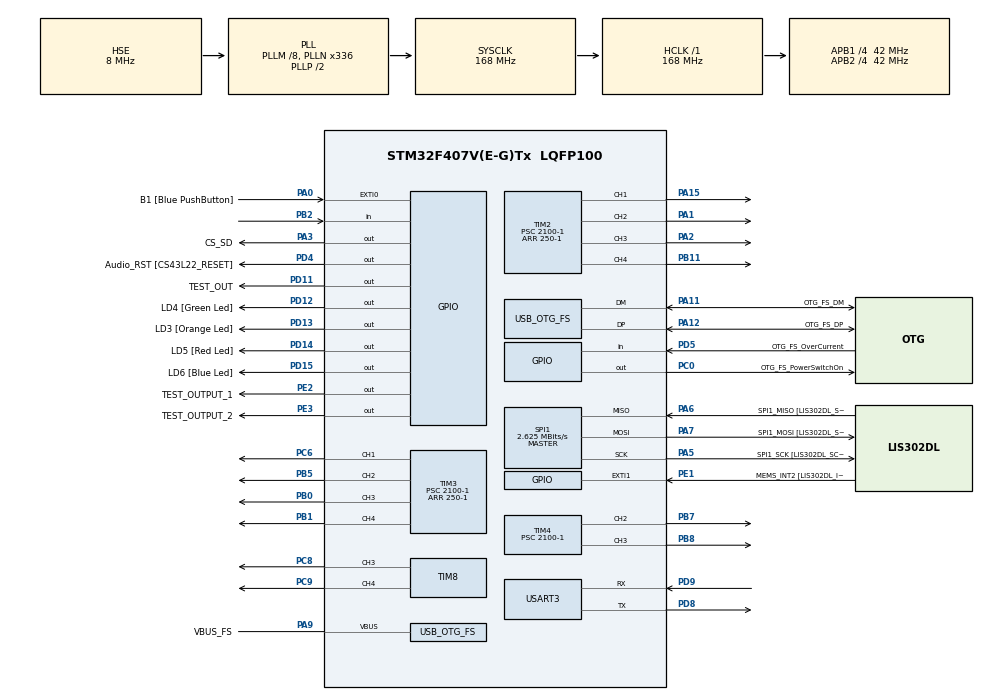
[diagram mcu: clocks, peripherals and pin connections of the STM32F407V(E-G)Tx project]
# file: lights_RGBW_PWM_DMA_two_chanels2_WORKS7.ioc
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Dma.Request0=TIM8_CH3
Dma.Request1=TIM8_CH4/TRIG/COM
Dma.TIM8_CH3.0.Direction=DMA_MEMORY_TO_PERIPH
Dma.TIM8_CH3.0.FIFOMode=DMA_FIFOMODE_DISABLE
Dma.TIM8_CH3.0.Instance=DMA2_Stream4
Dma.TIM8_CH3.0.MemDataAlignment=DMA_MDATAALIGN_WORD
Dma.TIM8_CH3.0.MemInc=DMA_MINC_ENABLE
Dma.TIM8_CH3.0.Mode=DMA_CIRCULAR
Dma.TIM8_CH3.0.PeriphDataAlignment=DMA_PDATAALIGN_WORD
Dma.TIM8_CH3.0.PeriphInc=DMA_PINC_DISABLE
Dma.TIM8_CH3.0.Priority=DMA_PRIORITY_HIGH
Dma.TIM8_CH4/TRIG/COM.1.Direction=DMA_MEMORY_TO_PERIPH
Dma.TIM8_CH4/TRIG/COM.1.FIFOMode=DMA_FIFOMODE_DISABLE
Dma.TIM8_CH4/TRIG/COM.1.Instance=DMA2_Stream7
Dma.TIM8_CH4/TRIG/COM.1.MemDataAlignment=DMA_MDATAALIGN_WORD
Dma.TIM8_CH4/TRIG/COM.1.MemInc=DMA_MINC_ENABLE
Dma.TIM8_CH4/TRIG/COM.1.Mode=DMA_CIRCULAR
Dma.TIM8_CH4/TRIG/COM.1.PeriphDataAlignment=DMA_PDATAALIGN_WORD
Dma.TIM8_CH4/TRIG/COM.1.PeriphInc=DMA_PINC_DISABLE
Dma.TIM8_CH4/TRIG/COM.1.Priority=DMA_PRIORITY_HIGH
FATFS._MAX_SS=4096
FATFS._MIN_SS=512
FATFS._USE_LFN=1
Mcu.Family=STM32F4
Mcu.Name=STM32F407V(E-G)Tx
Mcu.Package=LQFP100
NVIC.DMA2_Stream4_IRQn=true\:0\:0\:false\:false\:true\:false\:true\:true
NVIC.DMA2_Stream7_IRQn=true\:0\:0\:false\:false\:true\:false\:true\:true
NVIC.OTG_FS_IRQn=true\:0\:0\:false\:false\:true\:true\:true\:true
NVIC.PriorityGroup=NVIC_PRIORITYGROUP_0
NVIC.TIM2_IRQn=true\:0\:0\:false\:false\:true\:true\:true\:true
NVIC.TIM8_TRG_COM_TIM14_IRQn=true\:0\:0\:false\:false\:true\:true\:true\:true
NVIC.TIM8_UP_TIM13_IRQn=true\:0\:0\:false\:false\:true\:true\:true\:true
NVIC.USART3_IRQn=true\:0\:0\:false\:false\:true\:true\:true\:true
PA0-WKUP.GPIO_Label=B1 [Blue PushButton]
PA0-WKUP.GPIO_ModeDefaultEXTI=GPIO_MODE_EVT_RISING
PA0-WKUP.GPIO_PuPd=GPIO_NOPULL
PA0-WKUP.Signal=GPXTI0
PA1.Signal=S_TIM2_CH2
PA10.GPIO_Label=OTG_FS_ID
PA10.GPIO_Mode=GPIO_MODE_AF_PP
PA10.GPIO_PuPd=GPIO_NOPULL
PA10.GPIO_Speed=GPIO_SPEED_FREQ_LOW
PA10.Signal=USB_OTG_FS_ID
PA11.GPIO_Label=OTG_FS_DM
PA11.GPIO_Mode=GPIO_MODE_AF_PP
PA11.GPIO_PuPd=GPIO_NOPULL
PA11.GPIO_Speed=GPIO_SPEED_FREQ_LOW
PA11.Mode=Host_Only
PA11.Signal=USB_OTG_FS_DM
PA12.GPIO_Label=OTG_FS_DP
PA12.GPIO_Mode=GPIO_MODE_AF_PP
PA12.GPIO_PuPd=GPIO_NOPULL
PA12.GPIO_Speed=GPIO_SPEED_FREQ_LOW
PA12.Mode=Host_Only
PA12.Signal=USB_OTG_FS_DP
PA13.GPIO_Label=SWDIO
PA13.Mode=Serial_Wire
PA13.Signal=SYS_JTMS-SWDIO
PA14.GPIO_Label=SWCLK
PA14.Mode=Serial_Wire
PA14.Signal=SYS_JTCK-SWCLK
PA15.GPIO_Speed=GPIO_SPEED_FREQ_LOW
PA15.Signal=S_TIM2_CH1_ETR
PA2.Signal=S_TIM2_CH3
PA3.GPIO_Label=CS_SD
PA3.GPIO_Speed=GPIO_SPEED_FREQ_HIGH
PA3.Signal=GPIO_Output
PA4.GPIO_Label=I2S3_WS [CS43L22_LRCK]
PA4.GPIO_Mode=GPIO_MODE_AF_PP
PA4.GPIO_PuPd=GPIO_NOPULL
PA4.GPIO_Speed=GPIO_SPEED_FREQ_LOW
PA4.Signal=I2S3_WS
PA5.GPIO_Label=SPI1_SCK [LIS302DL_SCL/SPC]
PA5.GPIO_Mode=GPIO_MODE_AF_PP
PA5.GPIO_PuPd=GPIO_NOPULL
PA5.GPIO_Speed=GPIO_SPEED_FREQ_VERY_HIGH
PA5.Mode=Full_Duplex_Master
PA5.Signal=SPI1_SCK
PA6.GPIO_Label=SPI1_MISO [LIS302DL_SDO]
PA6.GPIO_Mode=GPIO_MODE_AF_PP
PA6.GPIO_PuPd=GPIO_NOPULL
PA6.GPIO_Speed=GPIO_SPEED_FREQ_VERY_HIGH
PA6.Mode=Full_Duplex_Master
PA6.Signal=SPI1_MISO
PA7.GPIO_Label=SPI1_MOSI [LIS302DL_SDA/SDI/SDO]
PA7.GPIO_Mode=GPIO_MODE_AF_PP
PA7.GPIO_PuPd=GPIO_NOPULL
PA7.GPIO_Speed=GPIO_SPEED_FREQ_VERY_HIGH
PA7.Mode=Full_Duplex_Master
PA7.Signal=SPI1_MOSI
PA9.GPIO_Label=VBUS_FS
PA9.GPIO_Mode=GPIO_MODE_INPUT
PA9.GPIO_PuPd=GPIO_NOPULL
PA9.Mode=Activate_VBUS
PA9.Signal=USB_OTG_FS_VBUS
PB0.Signal=S_TIM3_CH3
PB1.Signal=S_TIM3_CH4
PB10.GPIO_Label=CLK_IN [MP45DT02_CLK]
PB10.GPIO_Mode=GPIO_MODE_AF_PP
PB10.GPIO_PuPd=GPIO_NOPULL
PB10.GPIO_Speed=GPIO_SPEED_FREQ_LOW
PB10.Signal=I2S2_CK
PB11.Signal=S_TIM2_CH4
PB2.Signal=GPIO_Input
PB3.GPIO_Label=SWO
PB3.Signal=SYS_JTDO-SWO
PB5.Signal=S_TIM3_CH2
PB6.GPIO_Label=Audio_SCL [CS43L22_SCL]
PB6.GPIO_Mode=GPIO_MODE_AF_OD
PB6.GPIO_Pu=GPIO_PULLUP
PB6.GPIO_PuPd=GPIO_NOPULL
PB6.GPIO_Speed=GPIO_SPEED_FREQ_LOW
PB6.Signal=I2C1_SCL
PB7.Signal=S_TIM4_CH2
PB8.Signal=S_TIM4_CH3
PB9.GPIO_Label=Audio_SDA [CS43L22_SDA]
PB9.GPIO_Mode=GPIO_MODE_AF_OD
PB9.GPIO_Pu=GPIO_PULLUP
PB9.GPIO_PuPd=GPIO_NOPULL
PB9.GPIO_Speed=GPIO_SPEED_FREQ_LOW
PB9.Signal=I2C1_SDA
PC0.GPIO_Label=OTG_FS_PowerSwitchOn
PC0.GPIO_PuPd=GPIO_NOPULL
PC0.GPIO_Speed=GPIO_SPEED_FREQ_LOW
PC0.PinState=GPIO_PIN_SET
PC0.Signal=GPIO_Output
PC10.GPIO_Label=I2S3_SCK [CS43L22_SCLK]
PC10.GPIO_Mode=GPIO_MODE_AF_PP
PC10.GPIO_PuPd=GPIO_NOPULL
PC10.GPIO_Speed=GPIO_SPEED_FREQ_LOW
PC10.Signal=I2S3_CK
PC12.GPIO_Label=I2S3_SD [CS43L22_SDIN]
PC12.GPIO_Mode=GPIO_MODE_AF_PP
PC12.GPIO_PuPd=GPIO_NOPULL
PC12.GPIO_Speed=GPIO_SPEED_FREQ_LOW
PC12.Signal=I2S3_SD
PC14-OSC32_IN.GPIO_Label=PC14-OSC32_IN
PC14-OSC32_IN.Mode=LSE-External-Oscillator
PC14-OSC32_IN.Signal=RCC_OSC32_IN
PC15-OSC32_OUT.GPIO_Label=PC15-OSC32_OUT
PC15-OSC32_OUT.Mode=LSE-External-Oscillator
PC15-OSC32_OUT.Signal=RCC_OSC32_OUT
PC3.GPIO_Label=PDM_OUT [MP45DT02_DOUT]
PC3.GPIO_Mode=GPIO_MODE_AF_PP
PC3.GPIO_PuPd=GPIO_NOPULL
PC3.GPIO_Speed=GPIO_SPEED_FREQ_LOW
PC3.Signal=I2S2_SD
PC6.Signal=S_TIM3_CH1
PC7.GPIO_Label=I2S3_MCK [CS43L22_MCLK]
PC7.GPIO_Mode=GPIO_MODE_AF_PP
PC7.GPIO_PuPd=GPIO_NOPULL
PC7.GPIO_Speed=GPIO_SPEED_FREQ_LOW
PC7.Signal=I2S3_MCK
PC8.GPIO_PuPd=GPIO_PULLUP
PC8.GPIO_Speed=GPIO_SPEED_FREQ_VERY_HIGH
PC8.Signal=S_TIM8_CH3
PC9.GPIO_PuPd=GPIO_PULLUP
PC9.GPIO_Speed=GPIO_SPEED_FREQ_VERY_HIGH
PC9.Signal=S_TIM8_CH4
PD11.GPIO_Label=TEST_OUT
PD11.GPIO_PuPd=GPIO_PULLUP
PD11.GPIO_Speed=GPIO_SPEED_FREQ_VERY_HIGH
PD11.Signal=GPIO_Output
PD12.GPIO_Label=LD4 [Green Led]
PD12.GPIO_PuPd=GPIO_NOPULL
PD12.GPIO_Speed=GPIO_SPEED_FREQ_LOW
PD12.Signal=GPIO_Output
PD13.GPIO_Label=LD3 [Orange Led]
PD13.GPIO_PuPd=GPIO_NOPULL
PD13.GPIO_Speed=GPIO_SPEED_FREQ_LOW
PD13.Signal=GPIO_Output
PD14.GPIO_Label=LD5 [Red Led]
PD14.GPIO_PuPd=GPIO_NOPULL
PD14.GPIO_Speed=GPIO_SPEED_FREQ_LOW
PD14.Signal=GPIO_Output
PD15.GPIO_Label=LD6 [Blue Led]
PD15.GPIO_PuPd=GPIO_NOPULL
PD15.GPIO_Speed=GPIO_SPEED_FREQ_LOW
PD15.Signal=GPIO_Output
PD4.GPIO_Label=Audio_RST [CS43L22_RESET]
PD4.GPIO_PuPd=GPIO_NOPULL
PD4.GPIO_Speed=GPIO_SPEED_FREQ_LOW
PD4.Signal=GPIO_Output
PD5.GPIO_Label=OTG_FS_OverCurrent
PD5.GPIO_Mode=GPIO_MODE_INPUT
PD5.GPIO_PuPd=GPIO_NOPULL
PD5.Signal=GPIO_Input
PD8.Mode=Asynchronous
PD8.Signal=USART3_TX
PD9.Mode=Asynchronous
PD9.Signal=USART3_RX
PE1.GPIO_Label=MEMS_INT2 [LIS302DL_INT2]
PE1.GPIO_ModeDefaultEXTI=GPIO_MODE_EVT_RISING
PE1.GPIO_PuPd=GPIO_NOPULL
PE1.Signal=GPXTI1
PE2.GPIO_Label=TEST_OUTPUT_1
PE2.GPIO_PuPd=GPIO_PULLDOWN
PE2.GPIO_Speed=GPIO_SPEED_FREQ_VERY_HIGH
PE2.Signal=GPIO_Output
PE3.GPIO_Label=TEST_OUTPUT_2
PE3.Signal=GPIO_Output
PH0-OSC_IN.GPIO_Label=PH0-OSC_IN
PH0-OSC_IN.Mode=HSE-External-Oscillator
PH0-OSC_IN.Signal=RCC_OSC_IN
PH1-OSC_OUT.GPIO_Label=PH1-OSC_OUT
PH1-OSC_OUT.Mode=HSE-External-Oscillator
PH1-OSC_OUT.Signal=RCC_OSC_OUT
ProjectManager.HeapSize=0x200
ProjectManager.StackSize=0x400
ProjectManager.TargetToolchain=STM32CubeIDE
RCC.48MHZClocksFreq_Value=48000000
RCC.AHBFreq_Value=168000000
RCC.APB1CLKDivider=RCC_HCLK_DIV4
RCC.APB1Freq_Value=42000000
RCC.APB1TimFreq_Value=84000000
RCC.APB2CLKDivider=RCC_HCLK_DIV4
RCC.APB2Freq_Value=42000000
RCC.APB2TimFreq_Value=84000000
RCC.CortexFreq_Value=168000000
RCC.HCLKFreq_Value=168000000
RCC.HSE_VALUE=8000000
RCC.HSI_VALUE=16000000
RCC.PLLM=8
RCC.PLLN=336
RCC.PLLQ=7
RCC.SYSCLKFreq_VALUE=168000000
RCC.SYSCLKSource=RCC_SYSCLKSOURCE_PLLCLK
RCC.VCOOutputFreq_Value=336000000
SH.S_TIM2_CH1_ETR.0=TIM2_CH1,PWM Generation1 CH1
SH.S_TIM2_CH2.0=TIM2_CH2,PWM Generation2 CH2
SH.S_TIM2_CH3.0=TIM2_CH3,PWM Generation3 CH3
SH.S_TIM2_CH4.0=TIM2_CH4,PWM Generation4 CH4
SH.S_TIM3_CH1.0=TIM3_CH1,PWM Generation1 CH1
SH.S_TIM3_CH2.0=TIM3_CH2,PWM Generation2 CH2
SH.S_TIM3_CH3.0=TIM3_CH3,PWM Generation3 CH3
SH.S_TIM3_CH4.0=TIM3_CH4,PWM Generation4 CH4
SH.S_TIM4_CH2.0=TIM4_CH2,PWM Generation2 CH2
SH.S_TIM4_CH3.0=TIM4_CH3,PWM Generation3 CH3
SH.S_TIM8_CH3.0=TIM8_CH3,PWM Generation3 CH3
SH.S_TIM8_CH4.0=TIM8_CH4,PWM Generation4 CH4
SPI1.BaudRatePrescaler=SPI_BAUDRATEPRESCALER_16
SPI1.CalculateBaudRate=2.625 MBits/s
SPI1.Direction=SPI_DIRECTION_2LINES
SPI1.FirstBit=SPI_FIRSTBIT_MSB
SPI1.Mode=SPI_MODE_MASTER
SPI1.VirtualType=VM_MASTER
TIM13.Period=50000
TIM13.Prescaler=8400-1
TIM2.Channel-PWM\ Generation1\ CH1=TIM_CHANNEL_1
TIM2.Channel-PWM\ Generation2\ CH2=TIM_CHANNEL_2
TIM2.Channel-PWM\ Generation3\ CH3=TIM_CHANNEL_3
TIM2.Channel-PWM\ Generation4\ CH4=TIM_CHANNEL_4
TIM2.Period=250-1
TIM2.Prescaler=2100-1
TIM2.Pulse-PWM\ Generation1\ CH1=0
TIM2.Pulse-PWM\ Generation2\ CH2=0
TIM2.Pulse-PWM\ Generation3\ CH3=0
TIM2.Pulse-PWM\ Generation4\ CH4=0
TIM3.Channel-PWM\ Generation1\ CH1=TIM_CHANNEL_1
TIM3.Channel-PWM\ Generation2\ CH2=TIM_CHANNEL_2
TIM3.Channel-PWM\ Generation3\ CH3=TIM_CHANNEL_3
TIM3.Channel-PWM\ Generation4\ CH4=TIM_CHANNEL_4
TIM3.Period=250-1
TIM3.Prescaler=2100-1
TIM3.Pulse-PWM\ Generation1\ CH1=0
TIM3.Pulse-PWM\ Generation2\ CH2=0
TIM3.Pulse-PWM\ Generation3\ CH3=0
TIM3.Pulse-PWM\ Generation4\ CH4=0
TIM4.Channel-PWM\ Generation2\ CH2=TIM_CHANNEL_2
TIM4.Channel-PWM\ Generation3\ CH3=TIM_CHANNEL_3
TIM4.Period=250-1
TIM4.Prescaler=2100-1
TIM4.Pulse-PWM\ Generation2\ CH2=0
TIM4.Pulse-PWM\ Generation3\ CH3=0
TIM8.Channel-PWM\ Generation3\ CH3=TIM_CHANNEL_3
TIM8.Channel-PWM\ Generation4\ CH4=TIM_CHANNEL_4
USART3.VirtualMode=VM_ASYNC
USB_HOST.BSP.number=1
USB_HOST.USBH_HandleTypeDef-CDC_FS=hUsbHostFS
USB_HOST.VirtualModeFS=Cdc
USB_HOST0.BSP.STBoard=false
USB_HOST0.BSP.api=Unknown
USB_HOST0.BSP.instance=PC0
USB_HOST0.BSP.ip=GPIO
USB_HOST0.BSP.mode=Output
USB_HOST0.BSP.name=Drive_VBUS_FS
USB_HOST0.BSP.solution=PC0
USB_OTG_FS.VirtualMode=Host_Only
USB_OTG_FS.phy_itface=HCD_PHY_EMBEDDED
VP_FATFS_VS_Generic.Mode=User_defined
VP_TIM13_VS_ClockSourceINT.Mode=Enable_Timer
VP_TIM2_VS_ClockSourceINT.Mode=Internal
VP_TIM3_VS_ClockSourceINT.Mode=Internal
VP_TIM4_VS_ClockSourceINT.Mode=Internal
VP_USB_HOST_VS_USB_HOST_CDC_FS.Mode=CDC_FS
board=STM32F407G-DISC1

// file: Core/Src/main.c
/* USER CODE BEGIN Header */
/**
  ******************************************************************************
  * @file           : main.c
  * @brief          : Main program body
  ******************************************************************************
  * @attention
  *
  * Copyright (c) 2022 STMicroelectronics.
  * All rights reserved.
  *
  * This software is licensed under terms that can be found in the LICENSE file
  * in the root directory of this software component.
  * If no LICENSE file comes with this software, it is provided AS-IS.
  *
  ******************************************************************************
  */
/* USER CODE END Header */
#include "main.h"
#include "fatfs.h"
#include "usb_host.h"

/* USER CODE BEGIN Includes */
#include "string.h"
#include <stdlib.h>
#include <stdint.h>
#include <microSD/sd_spi.h>
#include <microSD/file_system.h>
#include "stdbool.h"

#include "light/led_stript/ARGB.h"
#include "light/led_stript/control.h"
#include "light/led_stop/stop_light.h"
#include "queue/queue.h"

/* USER CODE END Includes */

/* USER CODE BEGIN PTD */
void all_leds_animantion_ok_state(void);
void all_leds_animantion_error_state(void);

// SD Card ////////////////////////////////////////////////////////////////////
extern FATFS *fs;
extern FIL MyFile;
extern sd_info_ptr sdinfo;
extern FILINFO sFileInfo;
extern DIR sDirectory;
extern char aStringBuffer[60];
extern uint8_t aBuffer[512];

extern char USER_Path[4];
FATFS SDFatFs;
///////////////////////////////////////////////////////////////////////////////

// UART ///////////////////////////////////////////////////////////////////////
uint8_t uart_RX_data = 0;					// Buffer for receive one char
bool flag_received_command = false;			// This flag used for show that command from UART receive

bool interrupt_animation_flag = false;		// This flag need for be able to interrupt animation

char rx_buf_command[10] = {0};
uint8_t count_chars = 0;
////////////////////////////////////////////////////////////////////////////////

// Generate 25 Hz //////////////////////////////////////////////////////////////
bool interrupt_flag = false;
////////////////////////////////////////////////////////////////////////////////

bool data_ready_flag = false;
bool data_write_flag = true;

// data
uint8_t frame_buffer[949] = {0};
extern int frame_size ;			// How many bytes on the one frame
extern int start_evenled;

extern int strat_left_led;
extern int midle_left_led;
extern int end_left_led;

extern int strat_right_led;
extern int midle_right_led;
extern int end_ritht_led;

extern int how_many_leds_up_part;
extern int how_many_leds_down_part;

//extern int frame;
extern int how_many_frames;

Queue rx_Int_queue;

uint8_t frame_buffer_A[949] = {0};
uint8_t frame_buffer_B[949] = {0};

/* USER CODE END PTD */

/* USER CODE BEGIN PM */
//#include "stop_light.h"
//#include "LED_WS2812B.h"

/* USER CODE END PM */

SPI_HandleTypeDef hspi1;

TIM_HandleTypeDef htim2;
TIM_HandleTypeDef htim3;
TIM_HandleTypeDef htim4;
TIM_HandleTypeDef htim8;
TIM_HandleTypeDef htim13;
DMA_HandleTypeDef hdma_tim8_ch3;
DMA_HandleTypeDef hdma_tim8_ch4_trig_com;

UART_HandleTypeDef huart3;

void SystemClock_Config(void);
static void MX_GPIO_Init(void);
static void MX_DMA_Init(void);
static void MX_USART3_UART_Init(void);
static void MX_SPI1_Init(void);
static void MX_TIM2_Init(void);
static void MX_TIM3_Init(void);
static void MX_TIM4_Init(void);
static void MX_TIM8_Init(void);
static void MX_TIM13_Init(void);
void MX_USB_HOST_Process(void);

/* USER CODE BEGIN PFP */
// ----------------------------------------------------------------------------
void start_and_init_25_hz(int msec)
{
	msec = msec*10;
	__HAL_TIM_SET_AUTORELOAD(&htim13, msec-1);

	HAL_TIM_Base_Start_IT(&htim13);
}
// ----------------------------------------------------------------------------
void stop_25_hz(void)
{
	HAL_TIM_Base_Stop_IT(&htim13);
}
// ----------------------------------------------------------------------------
void init_leds_pwm(void)
{
	HAL_TIM_PWM_Start(&htim2, TIM_CHANNEL_1);
	HAL_TIM_PWM_Start(&htim2, TIM_CHANNEL_2);
	HAL_TIM_PWM_Start(&htim2, TIM_CHANNEL_3);
	HAL_TIM_PWM_Start(&htim2, TIM_CHANNEL_4);
	HAL_TIM_PWM_Start(&htim3, TIM_CHANNEL_1);
	HAL_TIM_PWM_Start(&htim3, TIM_CHANNEL_2);
	HAL_TIM_PWM_Start(&htim3, TIM_CHANNEL_3);
	HAL_TIM_PWM_Start(&htim3, TIM_CHANNEL_4);
	HAL_TIM_PWM_Start(&htim4, TIM_CHANNEL_2);
	HAL_TIM_PWM_Start(&htim4, TIM_CHANNEL_3);
}
// ----------------------------------------------------------------------------
void init_uart3(void)
{
	 HAL_UART_Receive_IT(&huart3, &uart_RX_data, sizeof(uart_RX_data));		// Turn on receive on byte from UART in interrupt mode
}
// ----------------------------------------------------------------------------
void init_rgbw_led_stript(void)
{
	ARGB_SetBrightness(255); 					 	// Set global brightness to 100%
	ARGB_Init();  									// Initialization
	turn_off_left_and_right_dtript();
}
 // ----------------------------------------------------------------------------
// Make printf function
#ifdef __GNUC__
#define PUTCHAR_PROTOTYPE int __io_putchar(int ch)
#else
#define PUTCHAR_PROTOTYPE int fputc(int ch, FILE *f)
#endif

PUTCHAR_PROTOTYPE
{
  HAL_UART_Transmit(&huart3, (uint8_t *)&ch, 1, HAL_MAX_DELAY);
  return ch;
}
// ----------------------------------------------------------------------------

uint8_t read_framesfrom_bin_file(char* name)
{
	uint16_t vTemp = 0;
	uint32_t vIndex = 0;
	static uint32_t vFileSize = 0;
	uint32_t vBytesReadCounter;

	int size_buf_for_read = sizeof(frame_buffer);

	init_leds_pwm();

	// BUG: Якщо вибрати не існуючий файл 20.bin, а потім вибрати файл 1.bin то відкриється 10.bin файл
	static bool open_file_flag = false;
	if(open_file_flag == false)		// if file wasn't opened before
	{
		if((f_mount(&SDFatFs, (TCHAR const*)USER_Path, 0)) != FR_OK)
		{
			printf("ERROR: No SD Card\n\r");
			SD_Error_Handler();
			return 1;
	  	}
		if((f_open(&MyFile, name, FA_READ)) != FR_OK)
		{
			printf("ERROR: No file with such name\n\r");
			SD_Error_Handler();
			return 1;
	  	}

		vFileSize = MyFile.obj.objsize;									// Get size of current file
		how_many_frames = vFileSize/frame_size;							// How many frames into current file

		open_file_flag = true;
		return 0;
	}
	else
	{
		static int frame = 0;

		if(frame > how_many_frames)				// If all frames has been read
		{
			f_close(&MyFile);
			open_file_flag = false;
			frame = 0;

			return 1;
	  	}

//		if(queue != full )		// якщо в черзі є ще місце
//		{
//			записати дані в чергу

		for(frame; ((frame <= how_many_frames) && (data_write_flag == true)); frame++)
		{
			//HAL_GPIO_TogglePin(GPIOE, TEST_OUTPUT_1_Pin);					// For measure

			// INTERRUPT DOESNT WORK !!!!!!!!!!!!!!!!!!!!!!!!!!!!<<<<<<<<<<<<<<<<<<<<<<<<
			if(interrupt_animation_flag == true)						// If was sent "STOP animation" command. 'z' key
			{
				interrupt_animation_flag = false;
				stop_light_all_turn_off();
				turn_off_left_and_right_dtript();
				HAL_Delay(100);

				break;
			}

			memset(frame_buffer, 0, sizeof(frame_buffer));							// must be 4 buffer

			f_lseek(&MyFile, frame + ((frame_size - 1)*frame));						// shift on one frame
			f_gets(frame_buffer, size_buf_for_read, &MyFile);     					// Read one fraime into buffer

			// SET Left RGBW LEDs
			uint16_t number_of_rgbw_leds = 0;
			int k = 0;
			for(k = end_left_led; k >= strat_left_led; k--)		// 84 LEDs
			{
				if(k%4 == 0)
				{
					set_left_one_rgbw_led(number_of_rgbw_leds, frame_buffer[k], frame_buffer[k+1], frame_buffer[k+2], frame_buffer[k+3]);
					number_of_rgbw_leds++;
				}
			}

			// SET Right RGBW LEDs
			number_of_rgbw_leds = 0;
			for(k = end_ritht_led; k >= strat_right_led; k--)
			{
				if(k%4 == 0)
				{
					set_right_one_rgbw_led(number_of_rgbw_leds, frame_buffer[k], frame_buffer[k+1], frame_buffer[k+2], frame_buffer[k+3]);
					number_of_rgbw_leds++;
				}
			}

			// Setting flags that data was loaded and ready to be show
			data_write_flag = false;
			data_ready_flag = true;

		}
//		}

	  	return 0;
	}
}
// ----------------------------------------------------------------------------

// ----------------------------------------------------------------------------
// uint8_t tim_increment = 0;
/* USER CODE END PFP */

int main(void)
{

  /* MCU Configuration--------------------------------------------------------*/

  /* Reset of all peripherals, Initializes the Flash interface and the Systick. */
  HAL_Init();

  /* Configure the system clock */
  SystemClock_Config();

  /* Initialize all configured peripherals */
  MX_GPIO_Init();
  MX_DMA_Init();
  MX_USB_HOST_Init();
  MX_USART3_UART_Init();
  MX_SPI1_Init();
  MX_FATFS_Init();
  MX_TIM2_Init();
  MX_TIM3_Init();
  MX_TIM4_Init();
  MX_TIM8_Init();
  MX_TIM13_Init();
  /* USER CODE BEGIN 2 */

  HAL_Delay(100);

  init_rgbw_led_stript();
  init_microSD();
  init_uart3();					// Receive commands from com port

  /* USER CODE END 2 */

  /* Infinite loop */
  /* USER CODE BEGIN WHILE */

  while (1)
  {
	  if(flag_received_command == true)
	  {
		  static char buf_str[10] = {0};
		  static bool flag_firt_command = true;

		  if(flag_firt_command == true)												// Read file first time
		  {
			  memset(buf_str, 0, sizeof(buf_str));
			  strcat(buf_str, rx_buf_command);
			  strcat(buf_str, ".bin");

			  start_and_init_25_hz(40);												// turn on 25 Hz interrupt

			  flag_firt_command = false;
		  }
		  else
		  {
			  static bool print_flag = true;

			  if(read_framesfrom_bin_file(buf_str) == 0)							// Read file
			  {
				  if(print_flag == true)											// If file was opened first time
				  {
					  printf("File %s is working...  \n\r", rx_buf_command);

					  print_flag = false;
				  }
			  }
			  else																	// Print "DONE" if all file was read
			  {
				  printf("\n\r DONE \n\r");

				  stop_25_hz();

				  flag_received_command = false;									// Out (set flag that file was read)
				  flag_firt_command = true;
				  print_flag = true;
			  }
		  }
	  }

	  // If data is ready and time is = 25 Hz - show it
//	  Якщо дані в черзі є, вивести їх
	  if((interrupt_flag == true) && (data_ready_flag == true))
	  {
		  update_all_leds();

		  data_ready_flag = false;					// Data was showed
		  data_write_flag = true;					// allow read next frame
	  }

    /* USER CODE END WHILE */
    MX_USB_HOST_Process();

  }
}

void SystemClock_Config(void)
{
  RCC_OscInitTypeDef RCC_OscInitStruct = {0};
  RCC_ClkInitTypeDef RCC_ClkInitStruct = {0};

  /** Configure the main internal regulator output voltage
  */
  __HAL_RCC_PWR_CLK_ENABLE();
  __HAL_PWR_VOLTAGESCALING_CONFIG(PWR_REGULATOR_VOLTAGE_SCALE1);

  /** Initializes the RCC Oscillators according to the specified parameters
  * in the RCC_OscInitTypeDef structure.
  */
  RCC_OscInitStruct.OscillatorType = RCC_OSCILLATORTYPE_HSE;
  RCC_OscInitStruct.HSEState = RCC_HSE_ON;
  RCC_OscInitStruct.PLL.PLLState = RCC_PLL_ON;
  RCC_OscInitStruct.PLL.PLLSource = RCC_PLLSOURCE_HSE;
  RCC_OscInitStruct.PLL.PLLM = 8;
  RCC_OscInitStruct.PLL.PLLN = 336;
  RCC_OscInitStruct.PLL.PLLP = RCC_PLLP_DIV2;
  RCC_OscInitStruct.PLL.PLLQ = 7;
  if (HAL_RCC_OscConfig(&RCC_OscInitStruct) != HAL_OK)
  {
    Error_Handler();
  }

  /** Initializes the CPU, AHB and APB buses clocks
  */
  RCC_ClkInitStruct.ClockType = RCC_CLOCKTYPE_HCLK|RCC_CLOCKTYPE_SYSCLK
                              |RCC_CLOCKTYPE_PCLK1|RCC_CLOCKTYPE_PCLK2;
  RCC_ClkInitStruct.SYSCLKSource = RCC_SYSCLKSOURCE_PLLCLK;
  RCC_ClkInitStruct.AHBCLKDivider = RCC_SYSCLK_DIV1;
  RCC_ClkInitStruct.APB1CLKDivider = RCC_HCLK_DIV4;
  RCC_ClkInitStruct.APB2CLKDivider = RCC_HCLK_DIV4;

  if (HAL_RCC_ClockConfig(&RCC_ClkInitStruct, FLASH_LATENCY_5) != HAL_OK)
  {
    Error_Handler();
  }
}

static void MX_SPI1_Init(void)
{

  /* SPI1 parameter configuration*/
  hspi1.Instance = SPI1;
  hspi1.Init.Mode = SPI_MODE_MASTER;
  hspi1.Init.Direction = SPI_DIRECTION_2LINES;
  hspi1.Init.DataSize = SPI_DATASIZE_8BIT;
  hspi1.Init.CLKPolarity = SPI_POLARITY_LOW;
  hspi1.Init.CLKPhase = SPI_PHASE_1EDGE;
  hspi1.Init.NSS = SPI_NSS_SOFT;
  hspi1.Init.BaudRatePrescaler = SPI_BAUDRATEPRESCALER_16;
  hspi1.Init.FirstBit = SPI_FIRSTBIT_MSB;
  hspi1.Init.TIMode = SPI_TIMODE_DISABLE;
  hspi1.Init.CRCCalculation = SPI_CRCCALCULATION_DISABLE;
  hspi1.Init.CRCPolynomial = 10;
  if (HAL_SPI_Init(&hspi1) != HAL_OK)
  {
    Error_Handler();
  }

}

static void MX_TIM2_Init(void)
{

  TIM_ClockConfigTypeDef sClockSourceConfig = {0};
  TIM_MasterConfigTypeDef sMasterConfig = {0};
  TIM_OC_InitTypeDef sConfigOC = {0};

  htim2.Instance = TIM2;
  htim2.Init.Prescaler = 2100-1;
  htim2.Init.CounterMode = TIM_COUNTERMODE_UP;
  htim2.Init.Period = 250-1;
  htim2.Init.ClockDivision = TIM_CLOCKDIVISION_DIV1;
  htim2.Init.AutoReloadPreload = TIM_AUTORELOAD_PRELOAD_DISABLE;
  if (HAL_TIM_Base_Init(&htim2) != HAL_OK)
  {
    Error_Handler();
  }
  sClockSourceConfig.ClockSource = TIM_CLOCKSOURCE_INTERNAL;
  if (HAL_TIM_ConfigClockSource(&htim2, &sClockSourceConfig) != HAL_OK)
  {
    Error_Handler();
  }
  if (HAL_TIM_PWM_Init(&htim2) != HAL_OK)
  {
    Error_Handler();
  }
  sMasterConfig.MasterOutputTrigger = TIM_TRGO_RESET;
  sMasterConfig.MasterSlaveMode = TIM_MASTERSLAVEMODE_DISABLE;
  if (HAL_TIMEx_MasterConfigSynchronization(&htim2, &sMasterConfig) != HAL_OK)
  {
    Error_Handler();
  }
  sConfigOC.OCMode = TIM_OCMODE_PWM1;
  sConfigOC.Pulse = 0;
  sConfigOC.OCPolarity = TIM_OCPOLARITY_HIGH;
  sConfigOC.OCFastMode = TIM_OCFAST_DISABLE;
  if (HAL_TIM_PWM_ConfigChannel(&htim2, &sConfigOC, TIM_CHANNEL_1) != HAL_OK)
  {
    Error_Handler();
  }
  if (HAL_TIM_PWM_ConfigChannel(&htim2, &sConfigOC, TIM_CHANNEL_2) != HAL_OK)
  {
    Error_Handler();
  }
  if (HAL_TIM_PWM_ConfigChannel(&htim2, &sConfigOC, TIM_CHANNEL_3) != HAL_OK)
  {
    Error_Handler();
  }
  if (HAL_TIM_PWM_ConfigChannel(&htim2, &sConfigOC, TIM_CHANNEL_4) != HAL_OK)
  {
    Error_Handler();
  }
  HAL_TIM_MspPostInit(&htim2);

}

static void MX_TIM3_Init(void)
{

  TIM_ClockConfigTypeDef sClockSourceConfig = {0};
  TIM_MasterConfigTypeDef sMasterConfig = {0};
  TIM_OC_InitTypeDef sConfigOC = {0};

  htim3.Instance = TIM3;
  htim3.Init.Prescaler = 2100-1;
  htim3.Init.CounterMode = TIM_COUNTERMODE_UP;
  htim3.Init.Period = 250-1;
  htim3.Init.ClockDivision = TIM_CLOCKDIVISION_DIV1;
  htim3.Init.AutoReloadPreload = TIM_AUTORELOAD_PRELOAD_DISABLE;
  if (HAL_TIM_Base_Init(&htim3) != HAL_OK)
  {
    Error_Handler();
  }
  sClockSourceConfig.ClockSource = TIM_CLOCKSOURCE_INTERNAL;
  if (HAL_TIM_ConfigClockSource(&htim3, &sClockSourceConfig) != HAL_OK)
  {
    Error_Handler();
  }
  if (HAL_TIM_PWM_Init(&htim3) != HAL_OK)
  {
    Error_Handler();
  }
  sMasterConfig.MasterOutputTrigger = TIM_TRGO_RESET;
  sMasterConfig.MasterSlaveMode = TIM_MASTERSLAVEMODE_DISABLE;
  if (HAL_TIMEx_MasterConfigSynchronization(&htim3, &sMasterConfig) != HAL_OK)
  {
    Error_Handler();
  }
  sConfigOC.OCMode = TIM_OCMODE_PWM1;
  sConfigOC.Pulse = 0;
  sConfigOC.OCPolarity = TIM_OCPOLARITY_HIGH;
  sConfigOC.OCFastMode = TIM_OCFAST_DISABLE;
  if (HAL_TIM_PWM_ConfigChannel(&htim3, &sConfigOC, TIM_CHANNEL_1) != HAL_OK)
  {
    Error_Handler();
  }
  if (HAL_TIM_PWM_ConfigChannel(&htim3, &sConfigOC, TIM_CHANNEL_2) != HAL_OK)
  {
    Error_Handler();
  }
  if (HAL_TIM_PWM_ConfigChannel(&htim3, &sConfigOC, TIM_CHANNEL_3) != HAL_OK)
  {
    Error_Handler();
  }
  if (HAL_TIM_PWM_ConfigChannel(&htim3, &sConfigOC, TIM_CHANNEL_4) != HAL_OK)
  {
    Error_Handler();
  }
  HAL_TIM_MspPostInit(&htim3);

}

static void MX_TIM4_Init(void)
{

  TIM_ClockConfigTypeDef sClockSourceConfig = {0};
  TIM_MasterConfigTypeDef sMasterConfig = {0};
  TIM_OC_InitTypeDef sConfigOC = {0};

  htim4.Instance = TIM4;
  htim4.Init.Prescaler = 2100-1;
  htim4.Init.CounterMode = TIM_COUNTERMODE_UP;
  htim4.Init.Period = 250-1;
  htim4.Init.ClockDivision = TIM_CLOCKDIVISION_DIV1;
  htim4.Init.AutoReloadPreload = TIM_AUTORELOAD_PRELOAD_DISABLE;
  if (HAL_TIM_Base_Init(&htim4) != HAL_OK)
  {
    Error_Handler();
  }
  sClockSourceConfig.ClockSource = TIM_CLOCKSOURCE_INTERNAL;
  if (HAL_TIM_ConfigClockSource(&htim4, &sClockSourceConfig) != HAL_OK)
  {
    Error_Handler();
  }
  if (HAL_TIM_PWM_Init(&htim4) != HAL_OK)
  {
    Error_Handler();
  }
  sMasterConfig.MasterOutputTrigger = TIM_TRGO_RESET;
  sMasterConfig.MasterSlaveMode = TIM_MASTERSLAVEMODE_DISABLE;
  if (HAL_TIMEx_MasterConfigSynchronization(&htim4, &sMasterConfig) != HAL_OK)
  {
    Error_Handler();
  }
  sConfigOC.OCMode = TIM_OCMODE_PWM1;
  sConfigOC.Pulse = 0;
  sConfigOC.OCPolarity = TIM_OCPOLARITY_HIGH;
  sConfigOC.OCFastMode = TIM_OCFAST_DISABLE;
  if (HAL_TIM_PWM_ConfigChannel(&htim4, &sConfigOC, TIM_CHANNEL_2) != HAL_OK)
  {
    Error_Handler();
  }
  if (HAL_TIM_PWM_ConfigChannel(&htim4, &sConfigOC, TIM_CHANNEL_3) != HAL_OK)
  {
    Error_Handler();
  }
  HAL_TIM_MspPostInit(&htim4);

}

static void MX_TIM8_Init(void)
{

  TIM_MasterConfigTypeDef sMasterConfig = {0};
  TIM_OC_InitTypeDef sConfigOC = {0};
  TIM_BreakDeadTimeConfigTypeDef sBreakDeadTimeConfig = {0};

  htim8.Instance = TIM8;
  htim8.Init.Prescaler = 0;
  htim8.Init.CounterMode = TIM_COUNTERMODE_UP;
  htim8.Init.Period = 65535;
  htim8.Init.ClockDivision = TIM_CLOCKDIVISION_DIV1;
  htim8.Init.RepetitionCounter = 0;
  htim8.Init.AutoReloadPreload = TIM_AUTORELOAD_PRELOAD_DISABLE;
  if (HAL_TIM_PWM_Init(&htim8) != HAL_OK)
  {
    Error_Handler();
  }
  sMasterConfig.MasterOutputTrigger = TIM_TRGO_RESET;
  sMasterConfig.MasterSlaveMode = TIM_MASTERSLAVEMODE_DISABLE;
  if (HAL_TIMEx_MasterConfigSynchronization(&htim8, &sMasterConfig) != HAL_OK)
  {
    Error_Handler();
  }
  sConfigOC.OCMode = TIM_OCMODE_PWM1;
  sConfigOC.Pulse = 0;
  sConfigOC.OCPolarity = TIM_OCPOLARITY_HIGH;
  sConfigOC.OCNPolarity = TIM_OCNPOLARITY_HIGH;
  sConfigOC.OCFastMode = TIM_OCFAST_DISABLE;
  sConfigOC.OCIdleState = TIM_OCIDLESTATE_RESET;
  sConfigOC.OCNIdleState = TIM_OCNIDLESTATE_RESET;
  if (HAL_TIM_PWM_ConfigChannel(&htim8, &sConfigOC, TIM_CHANNEL_3) != HAL_OK)
  {
    Error_Handler();
  }
  if (HAL_TIM_PWM_ConfigChannel(&htim8, &sConfigOC, TIM_CHANNEL_4) != HAL_OK)
  {
    Error_Handler();
  }
  sBreakDeadTimeConfig.OffStateRunMode = TIM_OSSR_DISABLE;
  sBreakDeadTimeConfig.OffStateIDLEMode = TIM_OSSI_DISABLE;
  sBreakDeadTimeConfig.LockLevel = TIM_LOCKLEVEL_OFF;
  sBreakDeadTimeConfig.DeadTime = 0;
  sBreakDeadTimeConfig.BreakState = TIM_BREAK_DISABLE;
  sBreakDeadTimeConfig.BreakPolarity = TIM_BREAKPOLARITY_HIGH;
  sBreakDeadTimeConfig.AutomaticOutput = TIM_AUTOMATICOUTPUT_DISABLE;
  if (HAL_TIMEx_ConfigBreakDeadTime(&htim8, &sBreakDeadTimeConfig) != HAL_OK)
  {
    Error_Handler();
  }
  HAL_TIM_MspPostInit(&htim8);

}

static void MX_TIM13_Init(void)
{

  htim13.Instance = TIM13;
  htim13.Init.Prescaler = 8400-1;
  htim13.Init.CounterMode = TIM_COUNTERMODE_UP;
  htim13.Init.Period = 50000;
  htim13.Init.ClockDivision = TIM_CLOCKDIVISION_DIV1;
  htim13.Init.AutoReloadPreload = TIM_AUTORELOAD_PRELOAD_DISABLE;
  if (HAL_TIM_Base_Init(&htim13) != HAL_OK)
  {
    Error_Handler();
  }

}

static void MX_USART3_UART_Init(void)
{

  huart3.Instance = USART3;
  huart3.Init.BaudRate = 115200;
  huart3.Init.WordLength = UART_WORDLENGTH_8B;
  huart3.Init.StopBits = UART_STOPBITS_1;
  huart3.Init.Parity = UART_PARITY_NONE;
  huart3.Init.Mode = UART_MODE_TX_RX;
  huart3.Init.HwFlowCtl = UART_HWCONTROL_NONE;
  huart3.Init.OverSampling = UART_OVERSAMPLING_16;
  if (HAL_UART_Init(&huart3) != HAL_OK)
  {
    Error_Handler();
  }

}

static void MX_DMA_Init(void)
{

  /* DMA controller clock enable */
  __HAL_RCC_DMA2_CLK_ENABLE();

  /* DMA interrupt init */
  /* DMA2_Stream4_IRQn interrupt configuration */
  HAL_NVIC_SetPriority(DMA2_Stream4_IRQn, 0, 0);
  HAL_NVIC_EnableIRQ(DMA2_Stream4_IRQn);
  /* DMA2_Stream7_IRQn interrupt configuration */
  HAL_NVIC_SetPriority(DMA2_Stream7_IRQn, 0, 0);
  HAL_NVIC_EnableIRQ(DMA2_Stream7_IRQn);

}

static void MX_GPIO_Init(void)
{
  GPIO_InitTypeDef GPIO_InitStruct = {0};

  /* GPIO Ports Clock Enable */
  __HAL_RCC_GPIOE_CLK_ENABLE();
  __HAL_RCC_GPIOC_CLK_ENABLE();
  __HAL_RCC_GPIOH_CLK_ENABLE();
  __HAL_RCC_GPIOA_CLK_ENABLE();
  __HAL_RCC_GPIOB_CLK_ENABLE();
  __HAL_RCC_GPIOD_CLK_ENABLE();

  /*Configure GPIO pin Output Level */
  HAL_GPIO_WritePin(GPIOE, TEST_OUTPUT_1_Pin|TEST_OUTPUT_2_Pin, GPIO_PIN_RESET);

  /*Configure GPIO pin Output Level */
  HAL_GPIO_WritePin(OTG_FS_PowerSwitchOn_GPIO_Port, OTG_FS_PowerSwitchOn_Pin, GPIO_PIN_SET);

  /*Configure GPIO pin Output Level */
  HAL_GPIO_WritePin(CS_SD_GPIO_Port, CS_SD_Pin, GPIO_PIN_RESET);

  /*Configure GPIO pin Output Level */
  HAL_GPIO_WritePin(GPIOD, TEST_OUT_Pin|LD4_Pin|LD3_Pin|LD5_Pin
                          |LD6_Pin|Audio_RST_Pin, GPIO_PIN_RESET);

  /*Configure GPIO pin : TEST_OUTPUT_1_Pin */
  GPIO_InitStruct.Pin = TEST_OUTPUT_1_Pin;
  GPIO_InitStruct.Mode = GPIO_MODE_OUTPUT_PP;
  GPIO_InitStruct.Pull = GPIO_PULLDOWN;
  GPIO_InitStruct.Speed = GPIO_SPEED_FREQ_VERY_HIGH;
  HAL_GPIO_Init(TEST_OUTPUT_1_GPIO_Port, &GPIO_InitStruct);

  /*Configure GPIO pin : TEST_OUTPUT_2_Pin */
  GPIO_InitStruct.Pin = TEST_OUTPUT_2_Pin;
  GPIO_InitStruct.Mode = GPIO_MODE_OUTPUT_PP;
  GPIO_InitStruct.Pull = GPIO_NOPULL;
  GPIO_InitStruct.Speed = GPIO_SPEED_FREQ_LOW;
  HAL_GPIO_Init(TEST_OUTPUT_2_GPIO_Port, &GPIO_InitStruct);

  /*Configure GPIO pin : OTG_FS_PowerSwitchOn_Pin */
  GPIO_InitStruct.Pin = OTG_FS_PowerSwitchOn_Pin;
  GPIO_InitStruct.Mode = GPIO_MODE_OUTPUT_PP;
  GPIO_InitStruct.Pull = GPIO_NOPULL;
  GPIO_InitStruct.Speed = GPIO_SPEED_FREQ_LOW;
  HAL_GPIO_Init(OTG_FS_PowerSwitchOn_GPIO_Port, &GPIO_InitStruct);

  /*Configure GPIO pin : PDM_OUT_Pin */
  GPIO_InitStruct.Pin = PDM_OUT_Pin;
  GPIO_InitStruct.Mode = GPIO_MODE_AF_PP;
  GPIO_InitStruct.Pull = GPIO_NOPULL;
  GPIO_InitStruct.Speed = GPIO_SPEED_FREQ_LOW;
  GPIO_InitStruct.Alternate = GPIO_AF5_SPI2;
  HAL_GPIO_Init(PDM_OUT_GPIO_Port, &GPIO_InitStruct);

  /*Configure GPIO pin : B1_Pin */
  GPIO_InitStruct.Pin = B1_Pin;
  GPIO_InitStruct.Mode = GPIO_MODE_EVT_RISING;
  GPIO_InitStruct.Pull = GPIO_NOPULL;
  HAL_GPIO_Init(B1_GPIO_Port, &GPIO_InitStruct);

  /*Configure GPIO pin : CS_SD_Pin */
  GPIO_InitStruct.Pin = CS_SD_Pin;
  GPIO_InitStruct.Mode = GPIO_MODE_OUTPUT_PP;
  GPIO_InitStruct.Pull = GPIO_NOPULL;
  GPIO_InitStruct.Speed = GPIO_SPEED_FREQ_HIGH;
  HAL_GPIO_Init(CS_SD_GPIO_Port, &GPIO_InitStruct);

  /*Configure GPIO pin : I2S3_WS_Pin */
  GPIO_InitStruct.Pin = I2S3_WS_Pin;
  GPIO_InitStruct.Mode = GPIO_MODE_AF_PP;
  GPIO_InitStruct.Pull = GPIO_NOPULL;
  GPIO_InitStruct.Speed = GPIO_SPEED_FREQ_LOW;
  GPIO_InitStruct.Alternate = GPIO_AF6_SPI3;
  HAL_GPIO_Init(I2S3_WS_GPIO_Port, &GPIO_InitStruct);

  /*Configure GPIO pin : PB2 */
  GPIO_InitStruct.Pin = GPIO_PIN_2;
  GPIO_InitStruct.Mode = GPIO_MODE_INPUT;
  GPIO_InitStruct.Pull = GPIO_NOPULL;
  HAL_GPIO_Init(GPIOB, &GPIO_InitStruct);

  /*Configure GPIO pin : CLK_IN_Pin */
  GPIO_InitStruct.Pin = CLK_IN_Pin;
  GPIO_InitStruct.Mode = GPIO_MODE_AF_PP;
  GPIO_InitStruct.Pull = GPIO_NOPULL;
  GPIO_InitStruct.Speed = GPIO_SPEED_FREQ_LOW;
  GPIO_InitStruct.Alternate = GPIO_AF5_SPI2;
  HAL_GPIO_Init(CLK_IN_GPIO_Port, &GPIO_InitStruct);

  /*Configure GPIO pin : TEST_OUT_Pin */
  GPIO_InitStruct.Pin = TEST_OUT_Pin;
  GPIO_InitStruct.Mode = GPIO_MODE_OUTPUT_PP;
  GPIO_InitStruct.Pull = GPIO_PULLUP;
  GPIO_InitStruct.Speed = GPIO_SPEED_FREQ_VERY_HIGH;
  HAL_GPIO_Init(TEST_OUT_GPIO_Port, &GPIO_InitStruct);

  /*Configure GPIO pins : LD4_Pin LD3_Pin LD5_Pin LD6_Pin
                           Audio_RST_Pin */
  GPIO_InitStruct.Pin = LD4_Pin|LD3_Pin|LD5_Pin|LD6_Pin
                          |Audio_RST_Pin;
  GPIO_InitStruct.Mode = GPIO_MODE_OUTPUT_PP;
  GPIO_InitStruct.Pull = GPIO_NOPULL;
  GPIO_InitStruct.Speed = GPIO_SPEED_FREQ_LOW;
  HAL_GPIO_Init(GPIOD, &GPIO_InitStruct);

  /*Configure GPIO pins : I2S3_MCK_Pin I2S3_SCK_Pin I2S3_SD_Pin */
  GPIO_InitStruct.Pin = I2S3_MCK_Pin|I2S3_SCK_Pin|I2S3_SD_Pin;
  GPIO_InitStruct.Mode = GPIO_MODE_AF_PP;
  GPIO_InitStruct.Pull = GPIO_NOPULL;
  GPIO_InitStruct.Speed = GPIO_SPEED_FREQ_LOW;
  GPIO_InitStruct.Alternate = GPIO_AF6_SPI3;
  HAL_GPIO_Init(GPIOC, &GPIO_InitStruct);

  /*Configure GPIO pin : OTG_FS_OverCurrent_Pin */
  GPIO_InitStruct.Pin = OTG_FS_OverCurrent_Pin;
  GPIO_InitStruct.Mode = GPIO_MODE_INPUT;
  GPIO_InitStruct.Pull = GPIO_NOPULL;
  HAL_GPIO_Init(OTG_FS_OverCurrent_GPIO_Port, &GPIO_InitStruct);

  /*Configure GPIO pins : Audio_SCL_Pin Audio_SDA_Pin */
  GPIO_InitStruct.Pin = Audio_SCL_Pin|Audio_SDA_Pin;
  GPIO_InitStruct.Mode = GPIO_MODE_AF_OD;
  GPIO_InitStruct.Pull = GPIO_PULLUP;
  GPIO_InitStruct.Speed = GPIO_SPEED_FREQ_LOW;
  GPIO_InitStruct.Alternate = GPIO_AF4_I2C1;
  HAL_GPIO_Init(GPIOB, &GPIO_InitStruct);

  /*Configure GPIO pin : MEMS_INT2_Pin */
  GPIO_InitStruct.Pin = MEMS_INT2_Pin;
  GPIO_InitStruct.Mode = GPIO_MODE_EVT_RISING;
  GPIO_InitStruct.Pull = GPIO_NOPULL;
  HAL_GPIO_Init(MEMS_INT2_GPIO_Port, &GPIO_InitStruct);

}

/* USER CODE BEGIN 4 */
// ------------------------------------------------------------------------------------
void HAL_TIM_PeriodElapsedCallback(TIM_HandleTypeDef *htim)
{
	if(htim == &htim13)
	{
		HAL_GPIO_TogglePin(GPIOE, TEST_OUTPUT_2_Pin);			// For debug
		interrupt_flag = true;
		//HAL_TIM_Base_Stop_IT(&htim13);
	}
}
// ------------------------------------------------------------------------------------
void HAL_UART_RxCpltCallback(UART_HandleTypeDef *huart)
{
	if(huart -> Instance == USART3)
	{
		if(uart_RX_data != 13)
		{
			rx_buf_command[count_chars] = uart_RX_data;
			count_chars++;
		}
		else
		{
			flag_received_command = true;
			count_chars= 0;
		}

		if(uart_RX_data == 'z')						// If was sent "STOP animation" command. 'z' key
		{
			interrupt_animation_flag = true;
		}

		HAL_UART_Receive_IT(&huart3, &uart_RX_data, 1);
		//HAL_UART_Transmit_IT(&huart3, &uart_RX_data, 1);
	}
}
// ------------------------------------------------------------------------------------
void all_leds_animantion_ok_state(void)
{
	turn_all_leds_from_centr(10, 0, 0, 150);
	test_from_midle_to_corner();

	HAL_Delay(500);

	turn_all_leds_from_centr(20, 0, 0, 0);
	stop_light_all_turn_off();
}
// -----------------------------------------------------------------------------
void all_leds_animantion_error_state(void)
{
	turn_all_leds_from_centr(7, 150, 0, 0);
	test_from_midle_to_corner();

	for(uint8_t i = 0; i < 85; i ++)
	{
		set_left_one_rgbw_led(i, 0, 0, 0, 0);
		set_right_one_rgbw_led(i, 0, 0, 0, 0);
		while (!ARGB_Show_left());  			// Update
		while (!ARGB_Show_right());  			// Update
		HAL_Delay(3);
	}

	stop_light_all_turn_off();
}
// ------------------------------------------------------------------------------------

/* USER CODE END 4 */

void Error_Handler(void)
{
  __disable_irq();
  while (1)
  {
  }
}
